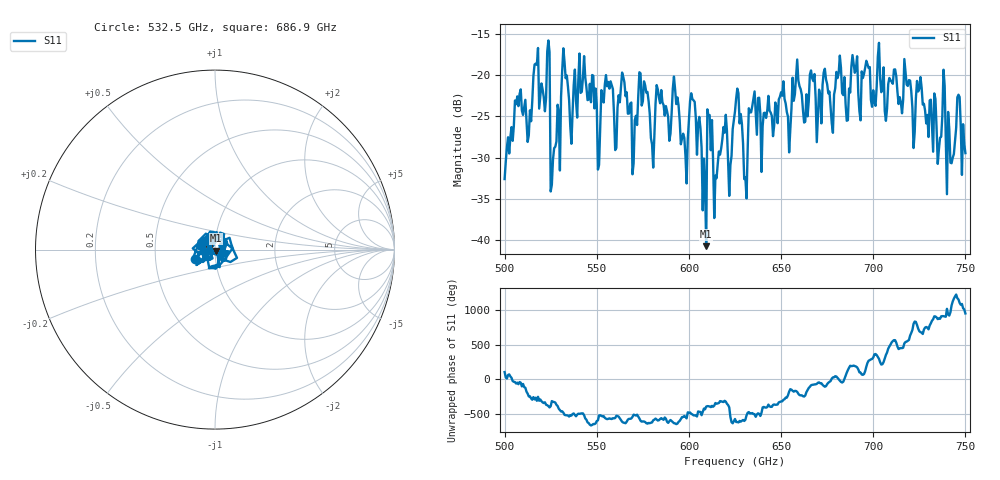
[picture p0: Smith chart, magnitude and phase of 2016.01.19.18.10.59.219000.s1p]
!Created with skrf (http://scikit-rf.org).
# GHz S RI R 50.0
!freq ReS11 ImS11
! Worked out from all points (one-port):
!   401 points, 500 GHz to 750 GHz, reference 50 ohm
!   lowest |S11| = -40.7 dB at 609.4 GHz (marker M1), VSWR 1.02, Z = 50.8 - j0.543 ohm
!   |S11| at or under -10 dB: start of sweep to end of sweep
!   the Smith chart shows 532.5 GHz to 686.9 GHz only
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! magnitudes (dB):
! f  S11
! 500 GHz  -32.6
! 507.5 GHz  -23.8
! 513.8 GHz  -24.3
! 516.9 GHz  -18.6
! 523.1 GHz  -17.2
! 526.2 GHz  -30.2
! 531.2 GHz  -19.4
! 541.9 GHz  -22.0
! 551.2 GHz  -30.9
! 562.5 GHz  -23.3
! 570.6 GHz  -25.5
! 574.4 GHz  -23.7
! 580 GHz  -28.4
! 583.8 GHz  -22.8
! 593.8 GHz  -22.7
! 601.9 GHz  -22.9
! 609.4 GHz  -40.7
! 611.2 GHz  -24.9
! 614.4 GHz  -32.2
! 619.4 GHz  -27.0
! 622.5 GHz  -30.9
! 625 GHz  -24.4
! 630.6 GHz  -32.4
! 634.4 GHz  -23.8
! 656.2 GHz  -20.3
! 687.5 GHz  -22.1
! 718.8 GHz  -21.3
! 750 GHz  -29.5
